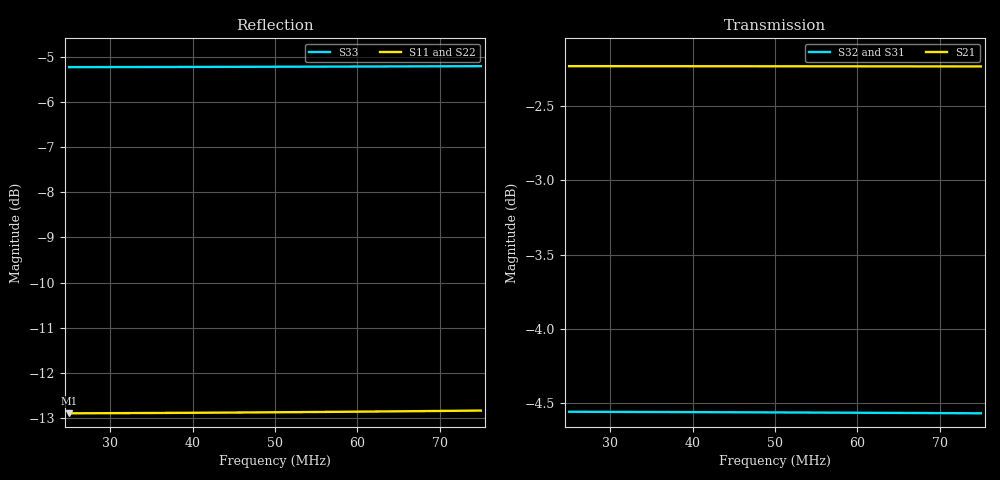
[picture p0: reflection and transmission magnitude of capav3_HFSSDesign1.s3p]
! Touchstone file exported from HFSS 2025.2.0
!  File:  C:/Users/32474/OneDrive - UCL/Documents/Ingenieur/MASTER1/Stage/HFSS/capav3.aedt
!  Generated:  03:03:22 PM Jun 23, 2026
!  Design:  HFSSDesign1
!  Project:  capav3
!  Setup:  Setup1
!  Solution:  Sweep
! Variables:
!  $H1_v = 400mm
!  $H2_v = 300mm
!  $Rext_v = 150mm
!  $Rint_v = 100mm
!  $Rperp_v = 75mm
!  $z_perp_v = 120mm
!  H1_v = 40mm
!  H2_v = 30mm
!  H_diel = 5mm
!  Hbig_c = 25mm
!  Hperp_v = 60mm
!  Hperp_vdiv2 = 60
!  Rbig_c = 12mm
!  Rext_v = 15mm
!  Rint_v = 8mm
!  Rlittle_c = 4mm
!  Rperp_c = 4mm
!  Rperp_v = 6mm
!  z_diel = 5mm
!  zperp = 30
!  zperp_v = 21mm
!Data is not renormalized
# GHz S MA
! Terminal data exported
! Port[1] = 1
! Port[2] = 2
! Port[3] = 3
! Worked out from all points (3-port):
!   51 points, 25 MHz to 75 MHz, reference per port
!   strongest paths, dB at 25 MHz, 37 MHz, 50 MHz, 63 MHz, 75 MHz:
!     S21: -2.2, -2.2, -2.2, -2.2, -2.2
!     S32: -4.6, -4.6, -4.6, -4.6, -4.6
!     S31: -4.6, -4.6, -4.6, -4.6, -4.6
!   lowest |S11| = -12.9 dB at 25 MHz (marker M1), VSWR 1.59
!   |S11| at or under -10 dB: start of sweep to end of sweep
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0.025  0.2266 -180.0  0.7736 -2.6  0.5915 -2.1
       0.7736 -2.6  0.2265 -180.0  0.5916 -2.1
       0.5915 -2.1  0.5916 -2.1  0.5477 179.5
0.031  0.2267 -180.0  0.7736 -3.2  0.5915 -2.6
       0.7736 -3.2  0.2266 -180.0  0.5915 -2.6
       0.5915 -2.6  0.5915 -2.6  0.5478 179.4
0.037  0.2268 -179.9  0.7736 -3.8  0.5914 -3.1
       0.7736 -3.8  0.2267 -179.9  0.5915 -3.1
       0.5914 -3.1  0.5915 -3.1  0.5479 179.2
0.043  0.227 -179.9  0.7736 -4.4  0.5913 -3.6
       0.7736 -4.4  0.2269 -179.9  0.5914 -3.6
       0.5913 -3.6  0.5914 -3.6  0.548 179.1
0.046  0.2271 -179.9  0.7736 -4.7  0.5913 -3.9
       0.7736 -4.7  0.2269 -179.9  0.5913 -3.9
       0.5913 -3.9  0.5913 -3.9  0.5481 179.0
0.05  0.2272 -179.9  0.7735 -5.2  0.5912 -4.2
      0.7735 -5.2  0.2271 -179.9  0.5913 -4.2
      0.5912 -4.2  0.5913 -4.2  0.5482 179.0
0.056  0.2274 -179.9  0.7735 -5.8  0.5912 -4.7
       0.7735 -5.8  0.2273 -179.9  0.5912 -4.7
       0.5912 -4.7  0.5912 -4.7  0.5484 178.8
0.062  0.2276 -179.9  0.7735 -6.4  0.5911 -5.2
       0.7735 -6.4  0.2275 -179.9  0.5911 -5.2
       0.5911 -5.2  0.5911 -5.2  0.5486 178.7
0.068  0.2279 -179.9  0.7735 -7.0  0.591 -5.7
       0.7735 -7.0  0.2277 -179.9  0.591 -5.7
       0.591 -5.7  0.591 -5.7  0.5488 178.6
0.075  0.2282 -179.9  0.7734 -7.7  0.5908 -6.3
       0.7734 -7.7  0.2281 -179.9  0.5909 -6.3
       0.5908 -6.3  0.5909 -6.3  0.549 178.4
